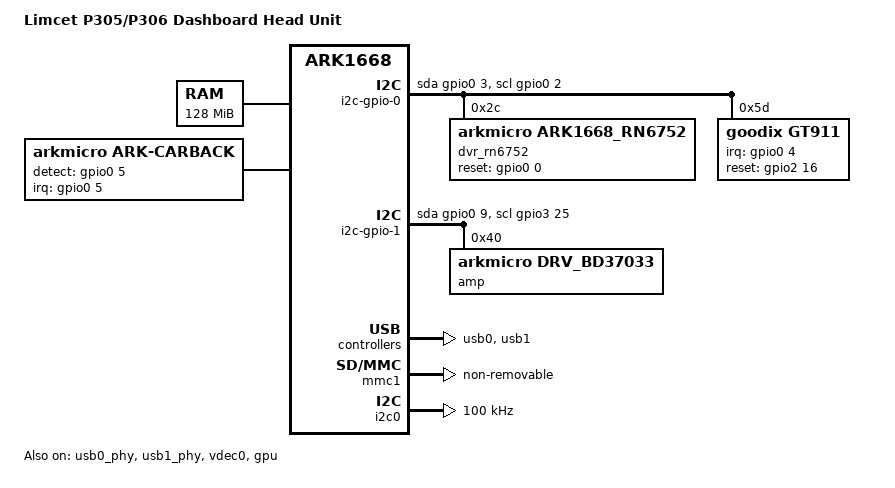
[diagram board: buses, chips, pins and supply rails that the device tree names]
// SPDX-License-Identifier: GPL-2.0
/dts-v1/;
#include "ark1668.dtsi"
#include "ark1668-pinctrl.dtsi"
#include <dt-bindings/gpio/gpio.h>

/ {
	model = "Limcet P305/P306 Dashboard Head Unit";
	compatible = "arkmicro,ark1668-limcet", "arkmicro,ark1668";

	memory {
		reg = <0x0 0x8000000>; // 128MB RAM
	};

	// Reversing Signal (Mapped but Prado uses UART protocol via MCUAdapter)
	carback: carback@0 {
		compatible = "arkmicro,ark-carback";
		interrupt-parent = <&gpio0>;
		interrupts = <5 IRQ_TYPE_EDGE_BOTH>;
		detect-gpios = <&gpio0 5 GPIO_ACTIVE_HIGH>;
		debounce-detect = <20>;
	};

	// ARK1680 on-SoC resistive ADC touchscreen — this is the touch path
	// this unit's stock firmware actually selects (see
	// docs/boot_experiment_log.md "ROOT CAUSE FOUND" and
	// docs/ARK1680_TS_REVERSE_ENGINEERING.md), not the GT911 node below.
	tsc: tsc@e4500000 {
		compatible = "arkmicro,ark1680-ts";
		reg = <0xe4500000 0x40>;
		interrupt-parent = <&vicl>;
		interrupts = <4>;
	};

	mcu_serial: mcu-serial@0 {
		compatible = "arkmicro,ark-mcu-serial";
	};

	tool_serial: tool-serial@0 {
		compatible = "arkmicro,ark-tool-serial";
	};

	// Bit-banged I2C Bus 0 (Analog I2C)
	i2c-gpio-0 {
		#address-cells = <1>;
		#size-cells = <0>;
		compatible = "i2c-gpio";
		gpios = <&gpio0 3 0		/* SDA (GPIO 3) */
			 &gpio0 2 0		/* SCL (GPIO 2) */
		>;
		i2c-gpio,delay-us = <6>;
		i2c-gpio,scl-output-only;

		// Richwave RN6752 AHD Camera Decoder
		dvr_rn6752: dvr_rn6752@2c {
			compatible = "arkmicro,ark1668_rn6752";
			reg = <0x2c>;
			reset-gpio = <&gpio0 0 0>;
			carback-config = <1>;
		};

		// Goodix GT911 Touchscreen Controller
		gt911: touchscreen@5d {
			compatible = "goodix,gt911";
			reg = <0x5d>;
			interrupt-parent = <&gpio0>;
			interrupts = <4 IRQ_TYPE_EDGE_FALLING>;
			irq-gpios = <&gpio0 4 GPIO_ACTIVE_HIGH>;
			reset-gpios = <&gpio2 16 GPIO_ACTIVE_HIGH>;
			touchscreen-inverted-x;
		};
	};

	// Bit-banged I2C Bus 1
	i2c-gpio-1 {
		#address-cells = <1>;
		#size-cells = <0>;
		compatible = "i2c-gpio";
		gpios = <&gpio0 9 0		/* SDA (GPIO 9) */
			 &gpio3 25 0		/* SCL (GPIO 121) */
		>;
		i2c-gpio,delay-us = <6>;
		i2c-gpio,scl-output-only;

		// ROHM BD37033 Sound Processor
		// Address corrected 0x40 -> 0x41 (2026-07-13), then back to 0x40
		// (2026-07-14). The 0x41 value came only from stock's *kernel*
		// board file (i2c_board_info struct) + an i2c-scan XX marker --
		// both just prove a kernel i2c_client got registered there, not
		// that the chip answers (see docs/I2C_GPIO0_LCD_PIN_CONFLICT.md).
		// Ground truth is the vendor's own shipped userspace audio-control
		// code: disassembly of libMsnSound.so's Sound_BD37033 constructor
		// + libMsnCommons.so's arki2c_open() shows it does
		// `ioctl(fd, I2C_SLAVE, 0x80 >> 1)` = address 0x40 at runtime --
		// matching the BD37033 datasheet's public 7-bit address. This also
		// explains the persistent bd37033_write_byte timeout seen
		// throughout this investigation: the kernel-level i2c_client was
		// always misaddressed, it just never mattered because stock's real
		// control path bypasses the kernel driver entirely. See
		// docs/AUDIO_SUBSYSTEM_INVESTIGATION.md.
		amp: drv_bd37033@40 {
			status = "okay";
			compatible = "arkmicro,drv_bd37033";
			reg = <0x40>;
			flout-gain = <65>;
			frout-gain = <65>;
			rlout-gain = <65>;
			rrout-gain = <65>;
			#sound-dai-cells = <0>;
		};
	};

	// Audio Card configuration
	sound {
		compatible = "simple-audio-card";
		simple-audio-card,format = "i2s";
		simple-audio-card,name = "ark1668-audio";

		// BD37033 (&amp) has no I2S DAI stream of its own -- it's
		// control-only (I2C-driven mixer controls, see
		// sound/soc/arkmicro/BD37033.c's "PA Volume" etc). Without
		// listing it as an aux-dev, its ASoC component never gets bound
		// into this card, so its controls never reach `amixer` even
		// when the I2S data path and I2C bus are both fine (found
		// 2026-07-14 via tools/audio-test/audio-test.sh -- see
		// docs/AUDIO_SUBSYSTEM_INVESTIGATION.md).
		simple-audio-card,aux-devs = <&amp>;

		// DAC/playback link listed FIRST (2026-07-13) so it lands on
		// PCM device 0, matching /etc/asound.conf's hardcoded
		// dmix slave "hw:0,0" -- simple-audio-card assigns device
		// numbers by dai-link order, and with ADC first the playback
		// device landed on hw:0,1 instead, causing every dmix/softvol
		// PCM to fail with "unable to open slave" at MsnCoreApp
		// startup (see docs/AUDIO_SUBSYSTEM_INVESTIGATION.md).
		simple-audio-card,dai-link@0 { /* I2S DAC link */
			bitclock-master = <&playback_cpu>;
			frame-master = <&playback_cpu>;
			playback_cpu: cpu {
				sound-dai = <&i2s_dac>;
			};
			playback_codec: codec {
				sound-dai = <&sddac>;
			};
		};
		simple-audio-card,dai-link@1 { /* I2S ADC link */
			cpu {
				sound-dai = <&i2s_adc>;
			};
			codec {
				sound-dai = <&sdadc>;
			};
		};
	};
};

&usb0_phy {
	compatible = "usb-nop-xceiv";
	#phy-cells = <0>;
	status = "okay";
};

&usb1_phy {
	compatible = "usb-nop-xceiv";
	#phy-cells = <0>;
	status = "okay";
};

&usb0 {
	status = "okay";
};

&usb1 {
	status = "okay";
};

// Console debug UART
&uart0 {
	use-in-kernel;
	use-for-tool;
};

&uart1 {
	status = "disabled";
};

// High-speed MCU Communication UART
&uart3 {
	use-in-kernel;
	use-for-mcu;
};

// LCD Framebuffer Configuration
&lcdc {
	display = <&display0>;
	pinctrl-names = "default";
	pinctrl-0 = <&pinctrl_lcd_base &pinctrl_lcd_rgb888>;

	display0: display@0 {
		interface-type = "TTL";
		lvds-con = <0x160fd>;
		bits-per-pixel = <32>;
		power-control-gpio = <&gpio2 17 GPIO_ACTIVE_HIGH>; /* LCD power enable pin (GPIO 81) */
		lcd-wiring-mode = "BGR";
		lcdcon-backlight;
		pwms = <&pwm0 1 50000>; /* Backlight PWM Channel 1 */
		pwm-names = "backlight";
		backlight-value = <20>;
		backlight-delay = <200>;

		display-timings {
			native-mode = <&timing0>;
			timing0: timing0 {
				clock-frequency = <33000000>;
				hactive = <800>;
				vactive = <480>;
				hback-porch = <16>;
				hfront-porch = <210>;
				vback-porch = <12>;
				vfront-porch = <22>;
				hsync-len = <30>;
				vsync-len = <13>;
				hsync-active = <1>;
				vsync-active = <1>;
				de-active = <0>;
				pixelclk-active = <0>;
			};
		};
	};
};

&vdec0 {
	status = "okay";
};

// SDIO WiFi Controller
&mmc1 {
	status = "okay";
	non-removable;
	broken-cd;
};

&gpu {
	compatible = "arkmicro,vivante-hal", "fsl,imx6q-gpu";
	reg-names = "iobase_3d";
	interrupt-names = "irq_3d";
	clocks = <&gpuclk>, <&gpuclk>, <&gpuclk>, <&gpuclk>, <&gpuclk>, <&gpuclk>;
	clock-names = "gpu3d_clk", "gpu3d_axi_clk", "gpu3d_shader_clk", "gpu2d_clk", "gpu2d_axi_clk", "openvg_axi_clk";
	status = "okay";
};

// DIAGNOSTIC: enabled with no child devices so both this controller and
// i2c-gpio-0 (which still owns the gt911@5d + dvr_rn6752@2c nodes above) are
// live simultaneously. Lets a userspace i2c scan on /dev/i2c-* determine,
// empirically, which physical bus the GT911 actually ACKs on — see
// docs/boot_experiment_log.md "Systematic I2C bus verification" and
// tools/i2c-scan/. Do not attach gt911 here until that scan confirms it.
&i2c0 {
	status = "okay";
	clock-frequency = <100000>;
};

&gpio0 {
	gpio-ranges = <&pinctrl0 0 0 6>, <&pinctrl0 6 6 2>, <&pinctrl0 10 10 22>;
};




